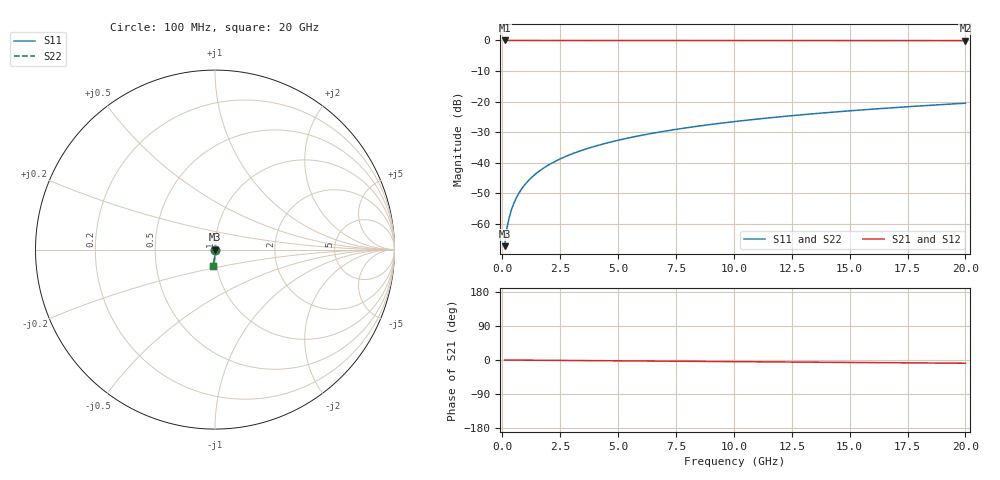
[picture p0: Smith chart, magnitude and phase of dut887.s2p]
! Touchstone file exported from HFSS 2026.1.0
!  File:  C:/ffzhzh/LocalFiles/Ansys_Project_Files/temp_train_TSV_887_1783185870_22436.aedt
!  Generated:  01:26:00 AM Jul  5, 2026
!  Design:  TSV
!  Project:  temp_train_TSV_887_1783185870_22436
! Variables:
!  h_bsmrdl = 2um
!  h_ox = 20um
!  h_rdl = 5um
!  h_sub = 70.97um
!  h_tmrdl = 5um
!  h_tsv = 70.97um
!  h_via = 3um
!  l_bsmrdl = 300um
!  l_sub = 422.7um
!  l_tmrdl = 200um
!  m_sub = 200um
!  pitch = 27.35um
!  r_tsv = 11.35um
!  s_tmrdl = 10um
!  w_bsmrdl = 18um
!  w_sub = 500um
!  w_tmrdl = 12um
!  x_tsv_center1 = 206um
!  x_tsv_center2 = 524um
!  x_tsv_center3 = 736um
!  x_tsv_center4 = 1054um
!  x_tsv_center5 = 1266um
!  x_tsv_center6 = 1584um
# GHz S MA R 50.000000
! Terminal data exported
! Port[1] = TSV1_1_T1
! Port[2] = TSV1_1_T2
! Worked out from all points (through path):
!   200 points, 100 MHz to 20 GHz, reference 50 ohm
!   highest |S21| = 0.00 dB at 100 MHz (marker M1); lowest = -0.1 dB at 20 GHz (marker M2)
!   group delay of S21, straight-line fit = 1.19 ps
!   lowest |S11| = -67.3 dB at 100 MHz (marker M3), VSWR 1.00, Z = 50 - j0.0417 ohm
!   |S11| at or under -10 dB: start of sweep to end of sweep
!   |S22| runs from -67.3 to -20.5 dB; largest |S21 - S12| = 3e-15
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0.1  0.0004321 -74.9  0.9999 -0.0  0.9999 -0.0  0.0004321 -74.9
! Gamma 0 0 0 0
! Port Impedance 50 0 50 0
0.2  0.0008502 -81.1  0.9999 -0.1  0.9999 -0.1  0.0008502 -81.1
0.3  0.001282 -83.0  0.9998 -0.1  0.9998 -0.1  0.001282 -83.0
0.4  0.001725 -83.8  0.9998 -0.2  0.9998 -0.2  0.001725 -83.8
0.5  0.002176 -84.3  0.9998 -0.2  0.9998 -0.2  0.002176 -84.3
0.7  0.003098 -85.1  0.9997 -0.3  0.9997 -0.3  0.003098 -85.1
0.8  0.003564 -85.5  0.9997 -0.4  0.9997 -0.4  0.003564 -85.5
1  0.004501 -86.1  0.9996 -0.4  0.9996 -0.4  0.004501 -86.1
1.2  0.005441 -86.6  0.9996 -0.5  0.9996 -0.5  0.005441 -86.6
1.4  0.00638 -87.0  0.9996 -0.6  0.9996 -0.6  0.00638 -87.0
1.7  0.00779 -87.6  0.9995 -0.7  0.9995 -0.7  0.00779 -87.6
2  0.009198 -88.0  0.9995 -0.9  0.9995 -0.9  0.009198 -88.0
2.7  0.01248 -88.8  0.9994 -1.2  0.9994 -1.2  0.01248 -88.8
3.5  0.01625 -89.5  0.9993 -1.5  0.9993 -1.5  0.01625 -89.5
4.2  0.01955 -89.9  0.9992 -1.8  0.9992 -1.8  0.01955 -89.9
5  0.02332 -90.4  0.999 -2.2  0.999 -2.2  0.02332 -90.4
6.8  0.03184 -91.4  0.9987 -2.9  0.9987 -2.9  0.03184 -91.4
8.3  0.03895 -92.2  0.9983 -3.6  0.9983 -3.6  0.03895 -92.2
10.1  0.04748 -93.1  0.9978 -4.3  0.9978 -4.3  0.04748 -93.1
13.4  0.06308 -94.7  0.9968 -5.7  0.9968 -5.7  0.06308 -94.7
16.7  0.07864 -96.2  0.9956 -7.2  0.9956 -7.2  0.07864 -96.2
20  0.09413 -97.7  0.9941 -8.5  0.9941 -8.5  0.09413 -97.7
